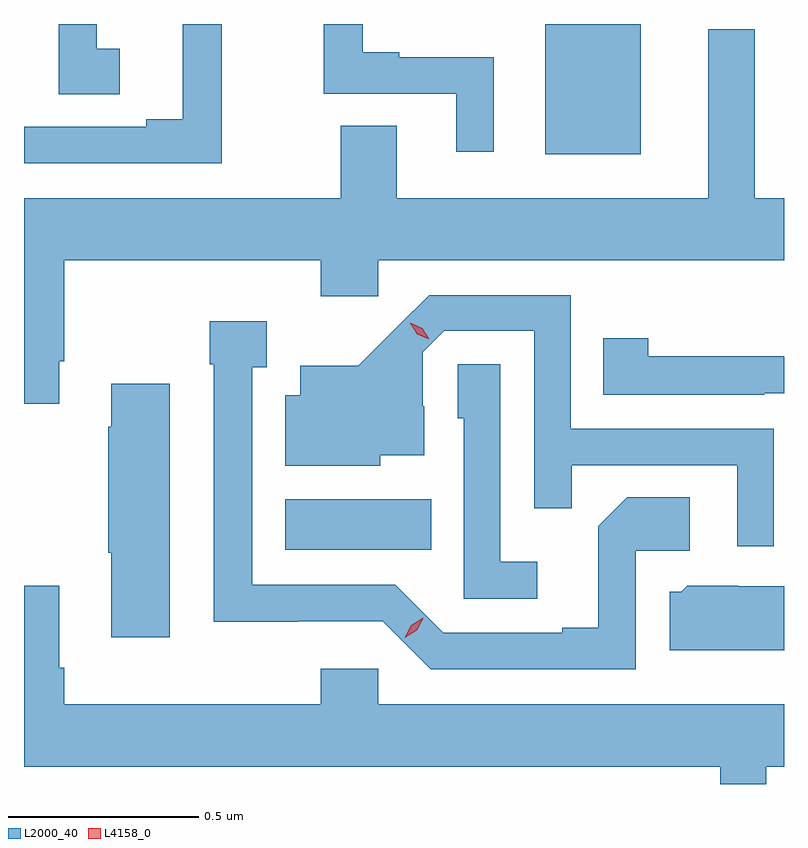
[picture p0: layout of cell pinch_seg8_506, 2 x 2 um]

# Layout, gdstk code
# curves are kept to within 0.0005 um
import gdstk
lib = gdstk.Library(unit=1e-6, precision=1e-09)
def R(c, l, rs):  # rectangles x0, y0, x1, y1
    for r in rs: c.add(gdstk.rectangle(r[:2], r[2:], *l))
def P(c, l, *ps):  # polygons
    for p in ps: c.add(gdstk.Polygon(p, *l))
L2000_40 = (2000, 40)
L4158_0 = (4158, 0)

pinch_seg8_506 = lib.new_cell('pinch_seg8_506')
R(pinch_seg8_506, L2000_40, [(215.294,1142.378,215.678,1142.512), (215.978,1143.419,216.229,1143.762)])
P(pinch_seg8_506, L2000_40, [(215.842,1143.675),(215.593,1143.675),(215.593,1143.688),(215.498,1143.688),(215.498,1143.762),(215.395,1143.762),(215.395,1143.579),(215.744,1143.579),(215.744,1143.426),(215.842,1143.426)],
  [(215.126,1143.762),(215.024,1143.762),(215.024,1143.512),(214.928,1143.512),(214.928,1143.492),(214.606,1143.492),(214.606,1143.396),(215.126,1143.396)],
  [(214.858,1143.697),(214.797,1143.697),(214.797,1143.762),(214.698,1143.762),(214.698,1143.577),(214.858,1143.577)],
  [(214.699,1142.875),(214.712,1142.875),(214.712,1143.14),(215.387,1143.14),(215.387,1143.045),(215.538,1143.045),(215.538,1143.14),(216.606,1143.14),(216.606,1143.304),(216.529,1143.304),(216.529,1143.748),(216.407,1143.748),(216.407,1143.304),(215.587,1143.304),(215.587,1143.494),(215.44,1143.494),(215.44,1143.304),(214.606,1143.304),(214.606,1142.763),(214.699,1142.763)],
  [(216.579,1142.697),(216.045,1142.697),(216.045,1143.048),(215.672,1143.048),(215.485,1142.863),(215.333,1142.863),(215.333,1142.785),(215.294,1142.785),(215.294,1142.6),(215.544,1142.6),(215.544,1142.627),(215.659,1142.627),(215.659,1142.756),(215.655,1142.756),(215.655,1142.898),(215.712,1142.955),(215.949,1142.955),(215.949,1142.488),(216.047,1142.488),(216.047,1142.601),(216.483,1142.601),(216.483,1142.388),(216.579,1142.388)],
  [(216.216,1142.376),(216.358,1142.376),(216.358,1142.516),(216.193,1142.516),(216.117,1142.44),(216.117,1142.173),(216.023,1142.173),(216.023,1142.16),(215.709,1142.16),(215.583,1142.286),(215.206,1142.286),(215.206,1142.859),(215.245,1142.859),(215.245,1142.98),(215.095,1142.98),(215.095,1142.867),(215.105,1142.867),(215.105,1142.189),(215.328,1142.189),(215.328,1142.19),(215.55,1142.19),(215.676,1142.064),(216.216,1142.064)],
  [(216.554,1142.79),(216.606,1142.79),(216.606,1142.887),(216.605,1142.887),(216.605,1142.888),(216.249,1142.888),(216.249,1142.935),(216.13,1142.935),(216.13,1142.787),(216.554,1142.787)],
  [(215.956,1142.347),(215.859,1142.347),(215.859,1142.867),(215.748,1142.867),(215.748,1142.724),(215.763,1142.724),(215.763,1142.25),(215.956,1142.25)],
  [(214.99,1142.815),(214.835,1142.815),(214.835,1142.702),(214.828,1142.702),(214.828,1142.371),(214.835,1142.371),(214.835,1142.148),(214.99,1142.148)],
  [(216.559,1141.808),(216.606,1141.808),(216.606,1141.972),(215.538,1141.972),(215.538,1142.065),(215.387,1142.065),(215.387,1141.972),(214.712,1141.972),(214.712,1142.068),(214.699,1142.068),(214.699,1142.284),(214.606,1142.284),(214.606,1141.808),(216.438,1141.808),(216.438,1141.762),(216.559,1141.762)],
  [(216.606,1142.283),(216.486,1142.283),(216.486,1142.284),(216.352,1142.284),(216.336,1142.268),(216.305,1142.268),(216.305,1142.114),(216.606,1142.114)])
P(pinch_seg8_506, L4158_0, [(215.608,1142.147),(215.608,1142.147),(215.625,1142.18),(215.656,1142.199),(215.657,1142.199),(215.657,1142.198),(215.639,1142.166),(215.608,1142.147)],
  [(215.672,1142.932),(215.641,1142.946),(215.623,1142.975),(215.623,1142.976),(215.623,1142.976),(215.654,1142.961),(215.672,1142.932),(215.672,1142.932)])

lib.write_gds('pinch_seg8_506.gds')
